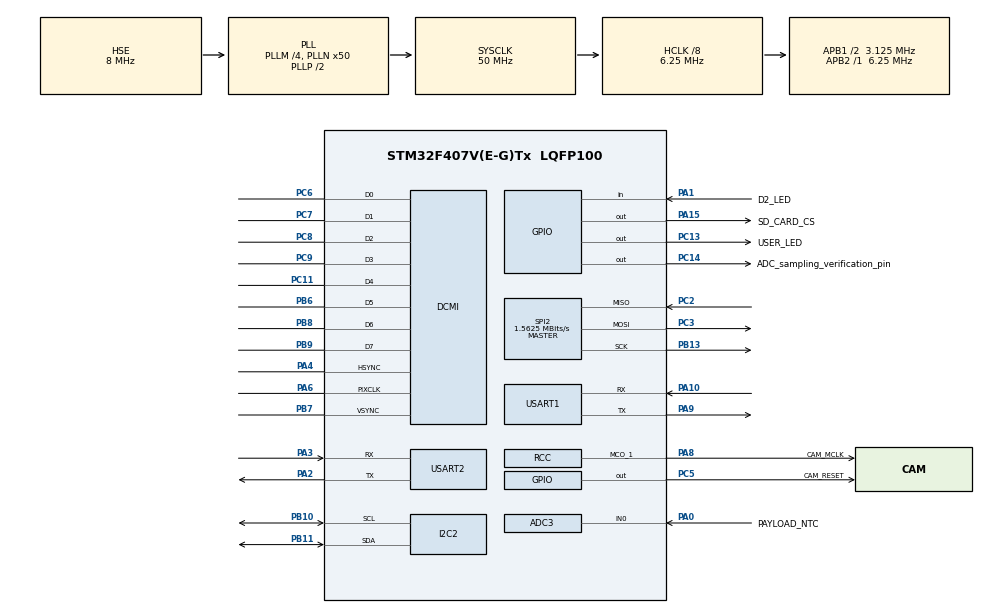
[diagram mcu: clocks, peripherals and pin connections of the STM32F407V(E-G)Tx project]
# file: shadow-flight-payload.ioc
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ADC1.Channel-0\#ChannelRegularConversion=ADC_CHANNEL_VREFINT
ADC1.Channel-1\#ChannelRegularConversion=ADC_CHANNEL_TEMPSENSOR
ADC1.ClockPrescaler=ADC_CLOCK_SYNC_PCLK_DIV6
ADC1.ContinuousConvMode=ENABLE
ADC1.ExternalTrigConv=ADC_EXTERNALTRIGCONV_T3_TRGO
ADC1.NbrOfConversion=2
ADC1.NbrOfConversionFlag=1
ADC1.Rank-0\#ChannelRegularConversion=1
ADC1.Rank-1\#ChannelRegularConversion=2
ADC1.SamplingTime-0\#ChannelRegularConversion=ADC_SAMPLETIME_144CYCLES
ADC1.SamplingTime-1\#ChannelRegularConversion=ADC_SAMPLETIME_144CYCLES
ADC1.ScanConvMode=ENABLE
ADC1.master=1
ADC3.Channel-0\#ChannelRegularConversion=ADC_CHANNEL_0
ADC3.ClockPrescaler=ADC_CLOCK_SYNC_PCLK_DIV6
ADC3.NbrOfConversionFlag=1
ADC3.Rank-0\#ChannelRegularConversion=1
ADC3.SamplingTime-0\#ChannelRegularConversion=ADC_SAMPLETIME_3CYCLES
DCMI.JPEGMode=DCMI_JPEG_DISABLE
Dma.ADC1.0.Direction=DMA_PERIPH_TO_MEMORY
Dma.ADC1.0.FIFOMode=DMA_FIFOMODE_DISABLE
Dma.ADC1.0.Instance=DMA2_Stream0
Dma.ADC1.0.MemDataAlignment=DMA_MDATAALIGN_HALFWORD
Dma.ADC1.0.MemInc=DMA_MINC_ENABLE
Dma.ADC1.0.Mode=DMA_CIRCULAR
Dma.ADC1.0.PeriphDataAlignment=DMA_PDATAALIGN_HALFWORD
Dma.ADC1.0.PeriphInc=DMA_PINC_DISABLE
Dma.ADC1.0.Priority=DMA_PRIORITY_LOW
Dma.DCMI.1.Direction=DMA_PERIPH_TO_MEMORY
Dma.DCMI.1.FIFOMode=DMA_FIFOMODE_DISABLE
Dma.DCMI.1.Instance=DMA2_Stream1
Dma.DCMI.1.MemDataAlignment=DMA_MDATAALIGN_WORD
Dma.DCMI.1.MemInc=DMA_MINC_ENABLE
Dma.DCMI.1.Mode=DMA_NORMAL
Dma.DCMI.1.PeriphDataAlignment=DMA_PDATAALIGN_WORD
Dma.DCMI.1.PeriphInc=DMA_PINC_DISABLE
Dma.DCMI.1.Priority=DMA_PRIORITY_LOW
Dma.Request0=ADC1
Dma.Request1=DCMI
FREERTOS.Tasks01=defaultTask,0,128,StartDefaultTask,Default,NULL,Dynamic,NULL,NULL
Mcu.Family=STM32F4
Mcu.Name=STM32F407V(E-G)Tx
Mcu.Package=LQFP100
NVIC.DCMI_IRQn=true\:5\:0\:false\:false\:true\:true\:true\:true\:true
NVIC.DMA2_Stream0_IRQn=true\:5\:0\:false\:false\:true\:true\:false\:true\:true
NVIC.DMA2_Stream1_IRQn=true\:5\:0\:false\:false\:true\:true\:false\:true\:true
NVIC.PriorityGroup=NVIC_PRIORITYGROUP_4
NVIC.TIM1_UP_TIM10_IRQn=true\:15\:0\:false\:false\:true\:false\:false\:true\:true
NVIC.TimeBase=TIM1_UP_TIM10_IRQn
NVIC.TimeBaseIP=TIM1
PA0-WKUP.GPIO_Label=PAYLOAD_NTC
PA0-WKUP.Signal=ADCx_IN0
PA1.GPIO_Label=D2_LED
PA1.Signal=GPIO_Input
PA10.Mode=Asynchronous
PA10.Signal=USART1_RX
PA13.Mode=Serial_Wire
PA13.Signal=SYS_JTMS-SWDIO
PA14.Mode=Serial_Wire
PA14.Signal=SYS_JTCK-SWCLK
PA15.GPIO_Label=SD_CARD_CS
PA15.Signal=GPIO_Output
PA2.Mode=Asynchronous
PA2.Signal=USART2_TX
PA3.Mode=Asynchronous
PA3.Signal=USART2_RX
PA4.Mode=Slave_8_bits_External_Synchro
PA4.Signal=DCMI_HSYNC
PA5.Signal=SPI1_SCK
PA6.Mode=Slave_8_bits_External_Synchro
PA6.Signal=DCMI_PIXCLK
PA8.GPIO_Label=CAM_MCLK
PA8.Mode=Clock-out-1
PA8.Signal=RCC_MCO_1
PA9.Mode=Asynchronous
PA9.Signal=USART1_TX
PB10.Mode=I2C
PB10.Signal=I2C2_SCL
PB11.Mode=I2C
PB11.Signal=I2C2_SDA
PB13.Mode=Full_Duplex_Master
PB13.Signal=SPI2_SCK
PB6.Mode=Slave_8_bits_External_Synchro
PB6.Signal=DCMI_D5
PB7.Mode=Slave_8_bits_External_Synchro
PB7.Signal=DCMI_VSYNC
PB8.Mode=Slave_8_bits_External_Synchro
PB8.Signal=DCMI_D6
PB9.Mode=Slave_8_bits_External_Synchro
PB9.Signal=DCMI_D7
PC11.Mode=Slave_8_bits_External_Synchro
PC11.Signal=DCMI_D4
PC13-ANTI_TAMP.GPIO_Label=USER_LED
PC13-ANTI_TAMP.Signal=GPIO_Output
PC14-OSC32_IN.GPIO_Label=ADC_sampling_verification_pin
PC14-OSC32_IN.Signal=GPIO_Output
PC2.Mode=Full_Duplex_Master
PC2.Signal=SPI2_MISO
PC3.Mode=Full_Duplex_Master
PC3.Signal=SPI2_MOSI
PC5.GPIO_Label=CAM_RESET
PC5.Signal=GPIO_Output
PC6.Mode=Slave_8_bits_External_Synchro
PC6.Signal=DCMI_D0
PC7.Mode=Slave_8_bits_External_Synchro
PC7.Signal=DCMI_D1
PC8.Mode=Slave_8_bits_External_Synchro
PC8.Signal=DCMI_D2
PC9.Mode=Slave_8_bits_External_Synchro
PC9.Signal=DCMI_D3
PH0-OSC_IN.Mode=HSE-External-Oscillator
PH0-OSC_IN.Signal=RCC_OSC_IN
PH1-OSC_OUT.Mode=HSE-External-Oscillator
PH1-OSC_OUT.Signal=RCC_OSC_OUT
ProjectManager.HeapSize=0x200
ProjectManager.StackSize=0x400
ProjectManager.TargetToolchain=STM32CubeIDE
RCC.48MHZClocksFreq_Value=25000000
RCC.AHBCLKDivider=RCC_SYSCLK_DIV8
RCC.AHBFreq_Value=6250000
RCC.APB1CLKDivider=RCC_HCLK_DIV2
RCC.APB1Freq_Value=3125000
RCC.APB1TimFreq_Value=6250000
RCC.APB2Freq_Value=6250000
RCC.APB2TimFreq_Value=6250000
RCC.CortexFreq_Value=6250000
RCC.HCLKFreq_Value=6250000
RCC.HSE_VALUE=8000000
RCC.HSI_VALUE=16000000
RCC.LSE_VALUE=32768
RCC.PLLM=4
RCC.PLLN=50
RCC.PLLSourceVirtual=RCC_PLLSOURCE_HSE
RCC.SYSCLKFreq_VALUE=50000000
RCC.SYSCLKSource=RCC_SYSCLKSOURCE_PLLCLK
RCC.VCOOutputFreq_Value=100000000
SH.ADCx_IN0.0=ADC3_IN0,IN0
SPI2.CalculateBaudRate=1.5625 MBits/s
SPI2.Direction=SPI_DIRECTION_2LINES
SPI2.Mode=SPI_MODE_MASTER
SPI2.VirtualType=VM_MASTER
TIM3.AutoReloadPreload=TIM_AUTORELOAD_PRELOAD_ENABLE
TIM3.Period=59999
TIM3.Prescaler=11
TIM3.TIM_MasterOutputTrigger=TIM_TRGO_UPDATE
USART1.VirtualMode=VM_ASYNC
USART2.VirtualMode=VM_ASYNC
VP_ADC1_TempSens_Input.Mode=IN-TempSens
VP_ADC1_Vref_Input.Mode=IN-Vrefint
VP_FATFS_VS_Generic.Mode=User_defined
VP_FREERTOS_VS_CMSIS_V1.Mode=CMSIS_V1
VP_LIBJPEG_VS_JPEGLIB.Mode=Enabled
VP_SYS_VS_tim1.Mode=TIM1
VP_TIM3_VS_ClockSourceINT.Mode=Internal
board=custom

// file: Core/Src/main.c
/* USER CODE BEGIN Header */
/**
  ******************************************************************************
  * @file           : main.c
  * @brief          : Main program body
  ******************************************************************************
  * @attention
  *
  * Copyright (c) 2025 STMicroelectronics.
  * All rights reserved.
  *
  * This software is licensed under terms that can be found in the LICENSE file
  * in the root directory of this software component.
  * If no LICENSE file comes with this software, it is provided AS-IS.
  *
  ******************************************************************************
  */
/* USER CODE END Header */
#include "main.h"
#include "cmsis_os.h"
#include "fatfs.h"
#include "libjpeg.h"

/* USER CODE BEGIN Includes */
#include <stdio.h>
#include <string.h>
#include <stdarg.h>    // for va_list and va_arg functions
#include "task.h"
#include "utils.h"
#include "data_types.h"
#include "state_machine.h"

/* USER CODE END Includes */

/* USER CODE BEGIN PTD */

PAYLOAD_rtos_memory_stats_type_t paylod_mem_stats;
PAYLOAD_sensor_data_t payload_sensor_data;

/* USER CODE END PTD */

/* USER CODE BEGIN PD */

#define LOG_QUEUE_SENDS  (0)   /* whether to log success queue sends */

/* internal board temperature defines */
#define AVG_SLOPE   (2.5F)
#define V_AT_25C	(0.76F)
#define V_REF_INT   (1.21F)

uint8_t update_event = 0;
uint16_t AD_RES[2];
float core_temperature;
float v_sense;
float v_ref;
char tx_buffer[30];

/* USER CODE END PD */

ADC_HandleTypeDef hadc1;
ADC_HandleTypeDef hadc3;
DMA_HandleTypeDef hdma_adc1;

DCMI_HandleTypeDef hdcmi;
DMA_HandleTypeDef hdma_dcmi;

I2C_HandleTypeDef hi2c2;

SPI_HandleTypeDef hspi2;

TIM_HandleTypeDef htim3;

UART_HandleTypeDef huart1;
UART_HandleTypeDef huart2;

osThreadId defaultTaskHandle;
/* USER CODE BEGIN PV */

TaskHandle_t get_payload_rtos_memory_task_handle;
TaskHandle_t get_payload_sensor_data_task_handle;
TaskHandle_t message_dispatcher_task_handle;
TaskHandle_t payload_data_consumer_task_handle;
TaskHandle_t led_active_task_handle;
TaskHandle_t capture_control_task_handle;

/* USER CODE END PV */

void SystemClock_Config(void);
static void MX_GPIO_Init(void);
static void MX_DMA_Init(void);
static void MX_I2C2_Init(void);
static void MX_USART2_UART_Init(void);
static void MX_ADC3_Init(void);
static void MX_DCMI_Init(void);
static void MX_SPI2_Init(void);
static void MX_ADC1_Init(void);
static void MX_TIM3_Init(void);
static void MX_USART1_UART_Init(void);
void StartDefaultTask(void const * argument);

/* USER CODE BEGIN PFP */

/**
 * @brief Task to collect payload statistics
 */
void get_payload_rtos_memory_task(void* argument);

/**
 * @brief get the payload board sensor data
 */
void get_payload_sensor_data_task(void* argument);

/**
 * @brief Get the core temperature for IC
 */
float get_core_temperature(void);

/**
 * @brief receive the core temperature data
 */
void payload_data_consumer(void* argument);

/**
 * @brief task to print messages from the tasks
 */
void message_dispatcher_task(void* argument);

/**
 * @brief blink on-board LED to signal system active. Can be configured OFF to save power
 */
void led_active_task(void* argument);

/**
 * @brief capture control task
 */
extern void capture_control_task(void* argument);

/**
 * @brief custom print function
 */
void myprintf(const char* fmt, ...);

/* define Mutex handle  */
SemaphoreHandle_t printf_mutex;
#define PRINTF_MUTEX_WAIT_TIME   (1000)

/* define Queue handles */
QueueHandle_t payload_memory_stats_queue_handle;
QueueHandle_t payload_sensor_data_queue_handle;
QueueHandle_t message_dispatcher_queue_handle;
QueueHandle_t combined_payload_data_queue_handle;

/* USER CODE END PFP */

int main(void)
{

  /* MCU Configuration--------------------------------------------------------*/

  /* Reset of all peripherals, Initializes the Flash interface and the Systick. */
  HAL_Init();

  /* Configure the system clock */
  SystemClock_Config();

  /* Initialize all configured peripherals */
  MX_GPIO_Init();
  MX_DMA_Init();
  MX_I2C2_Init();
  MX_USART2_UART_Init();
  MX_ADC3_Init();
  MX_DCMI_Init();
  MX_SPI2_Init();
  MX_FATFS_Init();
  MX_ADC1_Init();
  MX_TIM3_Init();
  MX_USART1_UART_Init();
  MX_LIBJPEG_Init();
  /* USER CODE BEGIN 2 */

  char board_id_msg[200];

  char* version = "Version: v1.0\r\n";
  char* dev = "Developer: Edwin Mwiti\r\n";
  char* subsys = "Subsystem: PAYLOAD\r\n";
  char* proj = "Project Shadow Flight\r\n";

  sprintf(board_id_msg,
		  "===================================\r\n%s%s%s%s===================================\r\n\n",
		  proj,
		  subsys,
		  dev,
		  version);

  HAL_UART_Transmit(&huart1, (uint8_t*)board_id_msg, strlen(board_id_msg), 100);		/* scheduler has not started yet here */
  HAL_Delay(1000);

  /* core temperature measurement ADC start settings */
  HAL_TIM_Base_Start(&htim3);						/* start timer 3 */
  //HAL_ADCEx_Calibration_Start(&hadc1);				/* start ADC calibration  */
  HAL_ADC_Start_DMA(&hadc1, (uint32_t*)AD_RES, 2); /* start ADC conversion */

  /* USER CODE END 2 */

  /* USER CODE BEGIN RTOS_MUTEX */

  printf_mutex = xSemaphoreCreateMutex();
  if(printf_mutex != NULL) {
	  HAL_UART_Transmit(&huart1,
			  (uint8_t*)"[+] Message Queue mutex created ok\r\n",
			  strlen("[+] Message Queue mutex created ok\r\n"),
			  100
			  );
  } else {
	  HAL_UART_Transmit(&huart1,
		  (uint8_t*)"[-] Could not create message queue mutex\r\n",
		  strlen("[-] Could not create message queue mutex\r\n"),
		  100
		  );
  }

  /* USER CODE END RTOS_MUTEX */

  /* USER CODE BEGIN RTOS_QUEUES */
  payload_memory_stats_queue_handle = xQueueCreate(PAYLOAD_MEMORY_QUEUE_LENGTH, sizeof(PAYLOAD_rtos_memory_stats_type_t));
  payload_sensor_data_queue_handle = xQueueCreate(PAYLOAD_SENSOR_DATA_QUEUE_LENGTH, sizeof(PAYLOAD_sensor_data_t));
  message_dispatcher_queue_handle = xQueueCreate(10, sizeof(char) * 100); // todo: optimize this -> use char pointer
  combined_payload_data_queue_handle = xQueueCreate(10, sizeof(PAYLOAD_combined_data_t));

  /* check for successful queue creation */
  if(payload_memory_stats_queue_handle != NULL) {
	  // queue create OK // TODO log to file
	  myprintf("[+] payload_memory_stats_queue_handle create OK\r\n");
	  // update system statistics byte
	  // send to messager
  } else {
	  // queue create failed
	  myprintf("[+] payload_memory_stats_queue_handle failed to create\r\n");
	  // send to message
  }

  if(payload_sensor_data_queue_handle != NULL) {
	  // queue create ok
	  myprintf("[+] payload_sensor_data_queue_handle created OK\r\n");
	  // send to messager
  } else {
	  // queue create failed
	  myprintf("[+] payload_sensor_data_queue_handle failed to create\r\n");
	  // send to messager
  }

  if(message_dispatcher_queue_handle != NULL) {
  	  // queue create ok
  	  myprintf("[+] message_dispatcher_queue_handle created OK\r\n");
  	  // send to messager
    } else {
  	  // queue create failed
  	  myprintf("[+] message_dispatcher_queue_handle failed to create\r\n");
  	  // send to messager
    }

  /* USER CODE END RTOS_QUEUES */

  /* Create the thread(s) */
  /* definition and creation of defaultTask */
  osThreadDef(defaultTask, StartDefaultTask, osPriorityNormal, 0, 128);
  defaultTaskHandle = osThreadCreate(osThread(defaultTask), NULL);

  /* USER CODE BEGIN RTOS_THREADS */
  /* add threads, ... */

  myprintf("FREE HEAP before creating tasks: %u\r\n", xPortGetFreeHeapSize());

  BaseType_t default_task = xTaskCreate(StartDefaultTask, "default", 128, NULL, 1, &defaultTaskHandle);
  BaseType_t memstats_create_status = xTaskCreate(get_payload_rtos_memory_task, "memory", 500, NULL, 1, &get_payload_rtos_memory_task_handle);
  BaseType_t payload_sensor_create_status = xTaskCreate(get_payload_sensor_data_task, "sensor_data", 500, NULL, 1, &get_payload_sensor_data_task_handle);
//  BaseType_t message_dispatcher_create_status = xTaskCreate(message_dispatcher_task, "dispatcher", 128, NULL, 1, &message_dispatcher_task_handle);
  BaseType_t payload_consumer_create_status = xTaskCreate(payload_data_consumer, "consumer", 500, NULL, 1, &payload_data_consumer_task_handle);
//  BaseType_t led_active_task_create_status = xTaskCreate(led_active_task, "led_active", 256, NULL, 1, &led_active_task_handle);
  BaseType_t capture_control_task_create_status = xTaskCreate(capture_control_task, "capture_control", 3000, NULL, 1, &capture_control_task_handle);

  /* check for successful creation */
  if(default_task == pdPASS) {
	 myprintf("[+] default_task task created OK \r\n");
  }else {
	 myprintf("[-] default_task task creation Failed \r\n");
  }

  if(memstats_create_status == pdPASS) {
	  myprintf("[+] get_payload_rtos_memory_task task created OK \r\n");
  }else {
	  myprintf("[-] get_payload_rtos_memory_task task creation Failed \r\n");
  }

  if(payload_sensor_create_status == pdPASS) {
	  myprintf("[+] get_payload_sensor_data_task task created OK \r\n");
  }else {
	  myprintf("[-] get_payload_sensor_data_task task creation Failed \r\n");
  }

//  if(message_dispatcher_create_status == pdPASS) {
//	  myprintf("[+] message_dispatcher_task task created OK \r\n");
//  }else {
//	  myprintf("[-] message_dispatcher_task task creation Failed \r\n");
//  }

  if(payload_consumer_create_status == pdPASS) {
	  myprintf("[+] payload_data_consumer_task task created OK \r\n");
  }else {
	  myprintf("[-] payload_data_consumer_task task creation Failed \r\n");
  }

//  if(led_active_task_create_status == pdPASS) {
//	  myprintf("[+] led_active_task created OK\r\n");
//  } else {
//	  myprintf("[-] led_active_task failed to create\r\n");
//  }
//
  if(capture_control_task_create_status == pdPASS) {
	  myprintf("[+] capture_control_task created OK\r\n");
  } else {
	  myprintf("[+] capture_control_task failed to create\r\n");
  }

  /* USER CODE END RTOS_THREADS */
  //myprintf("FREE HEAP before scheduler: %u\r\n", xPortGetFreeHeapSize());

  /* Start scheduler */
  osKernelStart();

  /* We should never get here as control is now taken by the scheduler */

  /* Infinite loop */
  while (1)
  {

  }
}

void SystemClock_Config(void)
{
  RCC_OscInitTypeDef RCC_OscInitStruct = {0};
  RCC_ClkInitTypeDef RCC_ClkInitStruct = {0};

  /** Configure the main internal regulator output voltage
  */
  __HAL_RCC_PWR_CLK_ENABLE();
  __HAL_PWR_VOLTAGESCALING_CONFIG(PWR_REGULATOR_VOLTAGE_SCALE1);

  /** Initializes the RCC Oscillators according to the specified parameters
  * in the RCC_OscInitTypeDef structure.
  */
  RCC_OscInitStruct.OscillatorType = RCC_OSCILLATORTYPE_HSI|RCC_OSCILLATORTYPE_HSE;
  RCC_OscInitStruct.HSEState = RCC_HSE_ON;
  RCC_OscInitStruct.HSIState = RCC_HSI_ON;
  RCC_OscInitStruct.HSICalibrationValue = RCC_HSICALIBRATION_DEFAULT;
  RCC_OscInitStruct.PLL.PLLState = RCC_PLL_ON;
  RCC_OscInitStruct.PLL.PLLSource = RCC_PLLSOURCE_HSE;
  RCC_OscInitStruct.PLL.PLLM = 4;
  RCC_OscInitStruct.PLL.PLLN = 50;
  RCC_OscInitStruct.PLL.PLLP = RCC_PLLP_DIV2;
  RCC_OscInitStruct.PLL.PLLQ = 4;
  if (HAL_RCC_OscConfig(&RCC_OscInitStruct) != HAL_OK)
  {
    Error_Handler();
  }

  /** Initializes the CPU, AHB and APB buses clocks
  */
  RCC_ClkInitStruct.ClockType = RCC_CLOCKTYPE_HCLK|RCC_CLOCKTYPE_SYSCLK
                              |RCC_CLOCKTYPE_PCLK1|RCC_CLOCKTYPE_PCLK2;
  RCC_ClkInitStruct.SYSCLKSource = RCC_SYSCLKSOURCE_PLLCLK;
  RCC_ClkInitStruct.AHBCLKDivider = RCC_SYSCLK_DIV8;
  RCC_ClkInitStruct.APB1CLKDivider = RCC_HCLK_DIV2;
  RCC_ClkInitStruct.APB2CLKDivider = RCC_HCLK_DIV1;

  if (HAL_RCC_ClockConfig(&RCC_ClkInitStruct, FLASH_LATENCY_0) != HAL_OK)
  {
    Error_Handler();
  }
  HAL_RCC_MCOConfig(RCC_MCO1, RCC_MCO1SOURCE_HSI, RCC_MCODIV_1);
}

static void MX_ADC1_Init(void)
{

  ADC_ChannelConfTypeDef sConfig = {0};

  /** Configure the global features of the ADC (Clock, Resolution, Data Alignment and number of conversion)
  */
  hadc1.Instance = ADC1;
  hadc1.Init.ClockPrescaler = ADC_CLOCK_SYNC_PCLK_DIV6;
  hadc1.Init.Resolution = ADC_RESOLUTION_12B;
  hadc1.Init.ScanConvMode = ENABLE;
  hadc1.Init.ContinuousConvMode = ENABLE;
  hadc1.Init.DiscontinuousConvMode = DISABLE;
  hadc1.Init.ExternalTrigConvEdge = ADC_EXTERNALTRIGCONVEDGE_RISING;
  hadc1.Init.ExternalTrigConv = ADC_EXTERNALTRIGCONV_T3_TRGO;
  hadc1.Init.DataAlign = ADC_DATAALIGN_RIGHT;
  hadc1.Init.NbrOfConversion = 2;
  hadc1.Init.DMAContinuousRequests = DISABLE;
  hadc1.Init.EOCSelection = ADC_EOC_SINGLE_CONV;
  if (HAL_ADC_Init(&hadc1) != HAL_OK)
  {
    Error_Handler();
  }

  /** Configure for the selected ADC regular channel its corresponding rank in the sequencer and its sample time.
  */
  sConfig.Channel = ADC_CHANNEL_VREFINT;
  sConfig.Rank = 1;
  sConfig.SamplingTime = ADC_SAMPLETIME_144CYCLES;
  if (HAL_ADC_ConfigChannel(&hadc1, &sConfig) != HAL_OK)
  {
    Error_Handler();
  }

  /** Configure for the selected ADC regular channel its corresponding rank in the sequencer and its sample time.
  */
  sConfig.Channel = ADC_CHANNEL_TEMPSENSOR;
  sConfig.Rank = 2;
  if (HAL_ADC_ConfigChannel(&hadc1, &sConfig) != HAL_OK)
  {
    Error_Handler();
  }

}

static void MX_ADC3_Init(void)
{

  ADC_ChannelConfTypeDef sConfig = {0};

  /** Configure the global features of the ADC (Clock, Resolution, Data Alignment and number of conversion)
  */
  hadc3.Instance = ADC3;
  hadc3.Init.ClockPrescaler = ADC_CLOCK_SYNC_PCLK_DIV6;
  hadc3.Init.Resolution = ADC_RESOLUTION_12B;
  hadc3.Init.ScanConvMode = DISABLE;
  hadc3.Init.ContinuousConvMode = DISABLE;
  hadc3.Init.DiscontinuousConvMode = DISABLE;
  hadc3.Init.ExternalTrigConvEdge = ADC_EXTERNALTRIGCONVEDGE_NONE;
  hadc3.Init.ExternalTrigConv = ADC_SOFTWARE_START;
  hadc3.Init.DataAlign = ADC_DATAALIGN_RIGHT;
  hadc3.Init.NbrOfConversion = 1;
  hadc3.Init.DMAContinuousRequests = DISABLE;
  hadc3.Init.EOCSelection = ADC_EOC_SINGLE_CONV;
  if (HAL_ADC_Init(&hadc3) != HAL_OK)
  {
    Error_Handler();
  }

  /** Configure for the selected ADC regular channel its corresponding rank in the sequencer and its sample time.
  */
  sConfig.Channel = ADC_CHANNEL_0;
  sConfig.Rank = 1;
  sConfig.SamplingTime = ADC_SAMPLETIME_3CYCLES;
  if (HAL_ADC_ConfigChannel(&hadc3, &sConfig) != HAL_OK)
  {
    Error_Handler();
  }

}

static void MX_DCMI_Init(void)
{

  hdcmi.Instance = DCMI;
  hdcmi.Init.SynchroMode = DCMI_SYNCHRO_HARDWARE;
  hdcmi.Init.PCKPolarity = DCMI_PCKPOLARITY_FALLING;
  hdcmi.Init.VSPolarity = DCMI_VSPOLARITY_LOW;
  hdcmi.Init.HSPolarity = DCMI_HSPOLARITY_LOW;
  hdcmi.Init.CaptureRate = DCMI_CR_ALL_FRAME;
  hdcmi.Init.ExtendedDataMode = DCMI_EXTEND_DATA_8B;
  hdcmi.Init.JPEGMode = DCMI_JPEG_DISABLE;
  if (HAL_DCMI_Init(&hdcmi) != HAL_OK)
  {
    Error_Handler();
  }

}

static void MX_I2C2_Init(void)
{

  hi2c2.Instance = I2C2;
  hi2c2.Init.ClockSpeed = 100000;
  hi2c2.Init.DutyCycle = I2C_DUTYCYCLE_2;
  hi2c2.Init.OwnAddress1 = 0;
  hi2c2.Init.AddressingMode = I2C_ADDRESSINGMODE_7BIT;
  hi2c2.Init.DualAddressMode = I2C_DUALADDRESS_DISABLE;
  hi2c2.Init.OwnAddress2 = 0;
  hi2c2.Init.GeneralCallMode = I2C_GENERALCALL_DISABLE;
  hi2c2.Init.NoStretchMode = I2C_NOSTRETCH_DISABLE;
  if (HAL_I2C_Init(&hi2c2) != HAL_OK)
  {
    Error_Handler();
  }

}

static void MX_SPI2_Init(void)
{

  /* SPI2 parameter configuration*/
  hspi2.Instance = SPI2;
  hspi2.Init.Mode = SPI_MODE_MASTER;
  hspi2.Init.Direction = SPI_DIRECTION_2LINES;
  hspi2.Init.DataSize = SPI_DATASIZE_8BIT;
  hspi2.Init.CLKPolarity = SPI_POLARITY_LOW;
  hspi2.Init.CLKPhase = SPI_PHASE_1EDGE;
  hspi2.Init.NSS = SPI_NSS_SOFT;
  hspi2.Init.BaudRatePrescaler = SPI_BAUDRATEPRESCALER_2;
  hspi2.Init.FirstBit = SPI_FIRSTBIT_MSB;
  hspi2.Init.TIMode = SPI_TIMODE_DISABLE;
  hspi2.Init.CRCCalculation = SPI_CRCCALCULATION_DISABLE;
  hspi2.Init.CRCPolynomial = 10;
  if (HAL_SPI_Init(&hspi2) != HAL_OK)
  {
    Error_Handler();
  }

}

static void MX_TIM3_Init(void)
{

  TIM_ClockConfigTypeDef sClockSourceConfig = {0};
  TIM_MasterConfigTypeDef sMasterConfig = {0};

  htim3.Instance = TIM3;
  htim3.Init.Prescaler = 11;
  htim3.Init.CounterMode = TIM_COUNTERMODE_UP;
  htim3.Init.Period = 59999;
  htim3.Init.ClockDivision = TIM_CLOCKDIVISION_DIV1;
  htim3.Init.AutoReloadPreload = TIM_AUTORELOAD_PRELOAD_ENABLE;
  if (HAL_TIM_Base_Init(&htim3) != HAL_OK)
  {
    Error_Handler();
  }
  sClockSourceConfig.ClockSource = TIM_CLOCKSOURCE_INTERNAL;
  if (HAL_TIM_ConfigClockSource(&htim3, &sClockSourceConfig) != HAL_OK)
  {
    Error_Handler();
  }
  sMasterConfig.MasterOutputTrigger = TIM_TRGO_UPDATE;
  sMasterConfig.MasterSlaveMode = TIM_MASTERSLAVEMODE_DISABLE;
  if (HAL_TIMEx_MasterConfigSynchronization(&htim3, &sMasterConfig) != HAL_OK)
  {
    Error_Handler();
  }

}

static void MX_USART1_UART_Init(void)
{

  huart1.Instance = USART1;
  huart1.Init.BaudRate = 115200;
  huart1.Init.WordLength = UART_WORDLENGTH_8B;
  huart1.Init.StopBits = UART_STOPBITS_1;
  huart1.Init.Parity = UART_PARITY_NONE;
  huart1.Init.Mode = UART_MODE_TX_RX;
  huart1.Init.HwFlowCtl = UART_HWCONTROL_NONE;
  huart1.Init.OverSampling = UART_OVERSAMPLING_16;
  if (HAL_UART_Init(&huart1) != HAL_OK)
  {
    Error_Handler();
  }

}

static void MX_USART2_UART_Init(void)
{

  huart2.Instance = USART2;
  huart2.Init.BaudRate = 115200;
  huart2.Init.WordLength = UART_WORDLENGTH_8B;
  huart2.Init.StopBits = UART_STOPBITS_1;
  huart2.Init.Parity = UART_PARITY_NONE;
  huart2.Init.Mode = UART_MODE_TX_RX;
  huart2.Init.HwFlowCtl = UART_HWCONTROL_NONE;
  huart2.Init.OverSampling = UART_OVERSAMPLING_16;
  if (HAL_UART_Init(&huart2) != HAL_OK)
  {
    Error_Handler();
  }

}

static void MX_DMA_Init(void)
{

  /* DMA controller clock enable */
  __HAL_RCC_DMA2_CLK_ENABLE();

  /* DMA interrupt init */
  /* DMA2_Stream0_IRQn interrupt configuration */
  HAL_NVIC_SetPriority(DMA2_Stream0_IRQn, 5, 0);
  HAL_NVIC_EnableIRQ(DMA2_Stream0_IRQn);
  /* DMA2_Stream1_IRQn interrupt configuration */
  HAL_NVIC_SetPriority(DMA2_Stream1_IRQn, 5, 0);
  HAL_NVIC_EnableIRQ(DMA2_Stream1_IRQn);

}

static void MX_GPIO_Init(void)
{
  GPIO_InitTypeDef GPIO_InitStruct = {0};

  /* GPIO Ports Clock Enable */
  __HAL_RCC_GPIOC_CLK_ENABLE();
  __HAL_RCC_GPIOH_CLK_ENABLE();
  __HAL_RCC_GPIOA_CLK_ENABLE();
  __HAL_RCC_GPIOB_CLK_ENABLE();

  /*Configure GPIO pin Output Level */
  HAL_GPIO_WritePin(GPIOC, USER_LED_Pin|ADC_sampling_verification_pin_Pin|CAM_RESET_Pin, GPIO_PIN_RESET);

  /*Configure GPIO pin Output Level */
  HAL_GPIO_WritePin(SD_CARD_CS_GPIO_Port, SD_CARD_CS_Pin, GPIO_PIN_RESET);

  /*Configure GPIO pins : USER_LED_Pin ADC_sampling_verification_pin_Pin CAM_RESET_Pin */
  GPIO_InitStruct.Pin = USER_LED_Pin|ADC_sampling_verification_pin_Pin|CAM_RESET_Pin;
  GPIO_InitStruct.Mode = GPIO_MODE_OUTPUT_PP;
  GPIO_InitStruct.Pull = GPIO_NOPULL;
  GPIO_InitStruct.Speed = GPIO_SPEED_FREQ_LOW;
  HAL_GPIO_Init(GPIOC, &GPIO_InitStruct);

  /*Configure GPIO pin : D2_LED_Pin */
  GPIO_InitStruct.Pin = D2_LED_Pin;
  GPIO_InitStruct.Mode = GPIO_MODE_INPUT;
  GPIO_InitStruct.Pull = GPIO_NOPULL;
  HAL_GPIO_Init(D2_LED_GPIO_Port, &GPIO_InitStruct);

  /*Configure GPIO pin : PA5 */
  GPIO_InitStruct.Pin = GPIO_PIN_5;
  GPIO_InitStruct.Mode = GPIO_MODE_AF_PP;
  GPIO_InitStruct.Pull = GPIO_NOPULL;
  GPIO_InitStruct.Speed = GPIO_SPEED_FREQ_VERY_HIGH;
  GPIO_InitStruct.Alternate = GPIO_AF5_SPI1;
  HAL_GPIO_Init(GPIOA, &GPIO_InitStruct);

  /*Configure GPIO pin : CAM_MCLK_Pin */
  GPIO_InitStruct.Pin = CAM_MCLK_Pin;
  GPIO_InitStruct.Mode = GPIO_MODE_AF_PP;
  GPIO_InitStruct.Pull = GPIO_NOPULL;
  GPIO_InitStruct.Speed = GPIO_SPEED_FREQ_LOW;
  GPIO_InitStruct.Alternate = GPIO_AF0_MCO;
  HAL_GPIO_Init(CAM_MCLK_GPIO_Port, &GPIO_InitStruct);

  /*Configure GPIO pin : SD_CARD_CS_Pin */
  GPIO_InitStruct.Pin = SD_CARD_CS_Pin;
  GPIO_InitStruct.Mode = GPIO_MODE_OUTPUT_PP;
  GPIO_InitStruct.Pull = GPIO_NOPULL;
  GPIO_InitStruct.Speed = GPIO_SPEED_FREQ_LOW;
  HAL_GPIO_Init(SD_CARD_CS_GPIO_Port, &GPIO_InitStruct);

}

/* USER CODE BEGIN 4 */

/**
 * @brief Task to collect payload statistics
 */

/**
 * @brief Called on ADC conversion complete
 */
void HAL_ADC_ConvCpltCallback(ADC_HandleTypeDef *hadc)
{
  if(hadc->Instance == ADC1) {
	  HAL_GPIO_TogglePin(D2_LED_GPIO_Port, D2_LED_Pin);
	  update_event = 1;					/* update global event */
  }
}

/**
 * @brief Get the core temperature for IC
 */
float get_core_temperature(void){

	if(update_event) {
		v_ref = (float) ((V_REF_INT * 4095) / AD_RES[0]);
		v_sense = (float) (AD_RES[1] * v_ref) / 4095.0;
		core_temperature = (((V_AT_25C - v_sense) * 1000.0) / AVG_SLOPE) + 25.0;
		return core_temperature;
	}

	return core_temperature;

}

/**
 * @brief Task to collect pay-load sensor data
 */
void get_payload_sensor_data_task(void* argument) {

	PAYLOAD_sensor_data_t sensor_data = {0};
	char* stat = "";
	char buff[100];

	for(;;) {

		/* get board temperature */
		float core_temp = get_core_temperature();
		sensor_data.core_temperature = core_temp;

		BaseType_t s_status = xQueueSend(
				payload_sensor_data_queue_handle,
				&sensor_data,
				pdMS_TO_TICKS(100)
				);
		#if LOG_QUEUE_SENDS
			if(s_status != pdPASS) {
				stat = "[-] Could not send data to payload_sensor_data_queue_handle\r\n"; // todo make queue name dynamic
			} else {
				stat = "[+] Data sent to payload_sensor_data_queue_handle\r\n";

			}
		#endif

		snprintf(buff, sizeof(buff), "%s", stat);
		xQueueSend(message_dispatcher_queue_handle, buff, pdMS_TO_TICKS(10));
		update_event = 0;

		vTaskDelay(pdMS_TO_TICKS(100));
	}
}

/**
 * @brief Task to collect payload memory statistics
 */
void get_payload_rtos_memory_task(void* argument) {

	PAYLOAD_rtos_memory_stats_type_t mem_stats = {0};
	char* stat = "";
	char buff[100];

	TickType_t x_last_wake_time;
	x_last_wake_time = xTaskGetTickCount();

	for(;;) {
		float fr_hp_kb = (float)(xPortGetFreeHeapSize()) / KILOBYTE_SIZE;   /* return the number of free bytes in the heap mem */
		float min_ever_kb  = (float)(xPortGetMinimumEverFreeHeapSize()) / KILOBYTE_SIZE;				/* return number of unallocated heap mem */

		mem_stats.free_heap = fr_hp_kb;
		mem_stats.min_ever_free_heap = min_ever_kb;

		/* update queue */
		BaseType_t s_status = xQueueSend(
				payload_memory_stats_queue_handle,
				&mem_stats, pdMS_TO_TICKS(10));

		#if LOG_QUEUE_SENDS
			if(s_status != pdPASS) {
				stat = "[-]Could not send message to payload_memory_stats_queue_handle\r\n";
			} else {
				stat = "[+]message sent to payload_memory_stats_queue_handle\r\n";
			}
		#endif

		snprintf(buff, sizeof(buff), "%s", stat);

		xQueueSend(message_dispatcher_queue_handle, buff, pdMS_TO_TICKS(10));
		vTaskDelayUntil(&x_last_wake_time, pdMS_TO_TICKS(MEMORY_CHECK_FREQ));
	}
}

/**
 * @brief receive the core temperature data
 */
void payload_data_consumer(void* argument){
	PAYLOAD_combined_data_t payload_comb_data;
	PAYLOAD_rtos_memory_stats_type_t mem_data;
	PAYLOAD_sensor_data_t sens_data;

	char* stat_a = "";
	char* stat_b = "";

	char buff[100];
	char recv_data_buff[300];

	TickType_t freq = 2000;
	TickType_t now = xTaskGetTickCount();

	for(;;) {

		/* receive sensor data */
		BaseType_t s = xQueueReceive(payload_sensor_data_queue_handle, &sens_data, 0);

		#if LOG_QUEUE_SENDS
			if(s != pdPASS) {
				stat_b = "Failed to receive from payload_sensor_data_queue_handle\r\n";
			} else {
				stat_b = "Received data from payload_sensor_data_queue_handle\r\n";
			}
		#endif

		snprintf(buff, sizeof(buff), "%s", stat_b);
		xQueueSend(message_dispatcher_queue_handle, buff, pdMS_TO_TICKS(10));

		/* receive memory data */
		BaseType_t x = xQueueReceive(payload_memory_stats_queue_handle, &mem_data, 0);

		#if LOG_QUEUE_SENDS
			if(x != pdPASS) {
				stat_a = "Failed to receive from memory stats queue\r\n\r\n";
			} else {
				stat_a = "Received data from memory stats queue\r\n";
			}
		#endif

		snprintf(buff, sizeof(buff), "%s", stat_a);
		xQueueSend(message_dispatcher_queue_handle ,buff, pdMS_TO_TICKS(10));

		memset(buff, 0, sizeof(buff) );

		payload_comb_data.mem_data.free_heap = mem_data.free_heap;
		payload_comb_data.mem_data.min_ever_free_heap = mem_data.min_ever_free_heap;
		payload_comb_data.mem_data.total_heap = mem_data.total_heap;

		payload_comb_data.sensor_data.core_temperature = sens_data.core_temperature;
		payload_comb_data.sensor_data.ntc_onboard_temperature = sens_data.ntc_onboard_temperature;

		/* display data */
		snprintf(recv_data_buff,
				sizeof(recv_data_buff),
				"free heap: %.2f KB\r\nmin_ever_free_hp: %.2f KB\r\nTotal_heap:%.2f KB\r\nCore temperature: %.2f\r\nNTC_onboard_temperature:%.2f\r\n\r\n",
				payload_comb_data.mem_data.free_heap,
				payload_comb_data.mem_data.min_ever_free_heap,
				payload_comb_data.mem_data.total_heap,
				payload_comb_data.sensor_data.core_temperature,
				payload_comb_data.sensor_data.ntc_onboard_temperature
				);

		myprintf("%s", recv_data_buff);

		vTaskDelayUntil(&now, freq);
	}
}

/**
 * @brief Print messages from a shared Queue
 */
void message_dispatcher_task(void* argument) {

	char recv_buffer[100];

	for(;;){
		if(xQueueReceive(message_dispatcher_queue_handle, recv_buffer, pdMS_TO_TICKS(100)) == pdPASS) {
			myprintf("%s", recv_buffer);
		}

		vTaskDelay(pdMS_TO_TICKS(5));
	}

}

/**
 * @brief blink onboard LED to signala system active. Can be configured OFF to save power
 */
void led_active_task(void* argument) {

	TickType_t x_last_tick = xTaskGetTickCount();
	TickType_t period = 1500;
	uint8_t led_state = 0;

	for(;;) {

		led_state = !led_state;
		HAL_GPIO_WritePin(USER_LED_GPIO_Port, USER_LED_Pin, led_state);

		vTaskDelayUntil(&x_last_tick, pdMS_TO_TICKS(period));

	}
}

/* USER CODE END 4 */

void StartDefaultTask(void const * argument)
{
  for(;;)
  {
    osDelay(1);
  }
}

void HAL_TIM_PeriodElapsedCallback(TIM_HandleTypeDef *htim)
{
  if (htim->Instance == TIM1)
  {
    HAL_IncTick();
  }
}

void Error_Handler(void)
{
  __disable_irq();
  while (1)
  {
  }
}

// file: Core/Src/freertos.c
/* USER CODE BEGIN Header */
/**
  ******************************************************************************
  * File Name          : freertos.c
  * Description        : Code for freertos applications
  ******************************************************************************
  * @attention
  *
  * Copyright (c) 2026 STMicroelectronics.
  * All rights reserved.
  *
  * This software is licensed under terms that can be found in the LICENSE file
  * in the root directory of this software component.
  * If no LICENSE file comes with this software, it is provided AS-IS.
  *
  ******************************************************************************
  */
/* USER CODE END Header */

#include "FreeRTOS.h"
#include "task.h"
#include "main.h"

/* GetIdleTaskMemory prototype (linked to static allocation support) */
void vApplicationGetIdleTaskMemory( StaticTask_t **ppxIdleTaskTCBBuffer, StackType_t **ppxIdleTaskStackBuffer, uint32_t *pulIdleTaskStackSize );

/* USER CODE BEGIN GET_IDLE_TASK_MEMORY */
static StaticTask_t xIdleTaskTCBBuffer;
static StackType_t xIdleStack[configMINIMAL_STACK_SIZE];

void vApplicationGetIdleTaskMemory( StaticTask_t **ppxIdleTaskTCBBuffer, StackType_t **ppxIdleTaskStackBuffer, uint32_t *pulIdleTaskStackSize )
{
  *ppxIdleTaskTCBBuffer = &xIdleTaskTCBBuffer;
  *ppxIdleTaskStackBuffer = &xIdleStack[0];
  *pulIdleTaskStackSize = configMINIMAL_STACK_SIZE;
  /* place for user code */
}
/* USER CODE END GET_IDLE_TASK_MEMORY */
